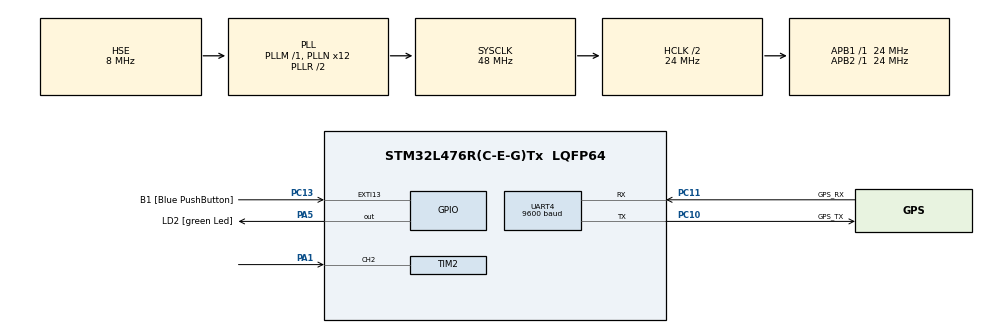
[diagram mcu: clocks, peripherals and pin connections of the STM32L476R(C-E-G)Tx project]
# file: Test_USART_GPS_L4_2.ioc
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Dma.MEMTOMEM.1.Direction=DMA_MEMORY_TO_MEMORY
Dma.MEMTOMEM.1.Instance=DMA1_Channel1
Dma.MEMTOMEM.1.MemDataAlignment=DMA_MDATAALIGN_BYTE
Dma.MEMTOMEM.1.MemInc=DMA_MINC_ENABLE
Dma.MEMTOMEM.1.Mode=DMA_NORMAL
Dma.MEMTOMEM.1.PeriphDataAlignment=DMA_PDATAALIGN_BYTE
Dma.MEMTOMEM.1.PeriphInc=DMA_PINC_ENABLE
Dma.MEMTOMEM.1.Priority=DMA_PRIORITY_LOW
Dma.Request0=UART4_RX
Dma.Request1=MEMTOMEM
Dma.Request2=UART4_TX
Dma.UART4_RX.0.Direction=DMA_PERIPH_TO_MEMORY
Dma.UART4_RX.0.Instance=DMA2_Channel5
Dma.UART4_RX.0.MemDataAlignment=DMA_MDATAALIGN_BYTE
Dma.UART4_RX.0.MemInc=DMA_MINC_ENABLE
Dma.UART4_RX.0.Mode=DMA_NORMAL
Dma.UART4_RX.0.PeriphDataAlignment=DMA_PDATAALIGN_BYTE
Dma.UART4_RX.0.PeriphInc=DMA_PINC_DISABLE
Dma.UART4_RX.0.Priority=DMA_PRIORITY_LOW
Dma.UART4_TX.2.Direction=DMA_MEMORY_TO_PERIPH
Dma.UART4_TX.2.Instance=DMA2_Channel3
Dma.UART4_TX.2.MemDataAlignment=DMA_MDATAALIGN_BYTE
Dma.UART4_TX.2.MemInc=DMA_MINC_ENABLE
Dma.UART4_TX.2.Mode=DMA_NORMAL
Dma.UART4_TX.2.PeriphDataAlignment=DMA_PDATAALIGN_BYTE
Dma.UART4_TX.2.PeriphInc=DMA_PINC_DISABLE
Dma.UART4_TX.2.Priority=DMA_PRIORITY_LOW
Mcu.Family=STM32L4
Mcu.Name=STM32L476R(C-E-G)Tx
Mcu.Package=LQFP64
Mcu.UserConstants=CCR1_VAL,8000
NVIC.DMA1_Channel1_IRQn=true\:0\:0\:false\:false\:true\:true\:true
NVIC.DMA2_Channel3_IRQn=true\:0\:0\:false\:false\:true\:false\:true
NVIC.DMA2_Channel5_IRQn=true\:0\:0\:false\:false\:true\:false\:true
NVIC.PriorityGroup=NVIC_PRIORITYGROUP_4
NVIC.TIM2_IRQn=true\:0\:0\:false\:false\:true\:true\:true
NVIC.UART4_IRQn=true\:0\:0\:false\:false\:true\:true\:false
PA1.Signal=S_TIM2_CH2
PA13\ (JTMS-SWDIO).GPIO_Label=TMS
PA13\ (JTMS-SWDIO).Signal=SYS_JTMS-SWDIO
PA14\ (JTCK-SWCLK).GPIO_Label=TCK
PA14\ (JTCK-SWCLK).Signal=SYS_JTCK-SWCLK
PA5.GPIO_Label=LD2 [green Led]
PA5.GPIO_ModeDefaultOutputPP=GPIO_MODE_OUTPUT_PP
PA5.GPIO_PuPd=GPIO_NOPULL
PA5.GPIO_Speed=GPIO_SPEED_FREQ_LOW
PA5.Signal=GPIO_Output
PB3\ (JTDO-TRACESWO).GPIO_Label=SWO
PB3\ (JTDO-TRACESWO).Signal=SYS_JTDO-SWO
PC10.GPIO_Label=GPS_TX
PC10.Mode=Asynchronous
PC10.Signal=UART4_TX
PC11.GPIO_Label=GPS_RX
PC11.Mode=Asynchronous
PC11.Signal=UART4_RX
PC13.GPIO_Label=B1 [Blue PushButton]
PC13.GPIO_ModeDefaultEXTI=GPIO_MODE_IT_FALLING
PC13.GPIO_PuPd=GPIO_NOPULL
PC13.Signal=GPXTI13
PC14-OSC32_IN\ (PC14).Signal=RCC_OSC32_IN
PC15-OSC32_OUT\ (PC15).Signal=RCC_OSC32_OUT
PH0-OSC_IN\ (PH0).Mode=HSE-External-Oscillator
PH0-OSC_IN\ (PH0).Signal=RCC_OSC_IN
PH1-OSC_OUT\ (PH1).Mode=HSE-External-Oscillator
PH1-OSC_OUT\ (PH1).Signal=RCC_OSC_OUT
ProjectManager.HeapSize=0x200
ProjectManager.StackSize=0x400
ProjectManager.TargetToolchain=TrueSTUDIO
RCC.ADCFreq_Value=32000000
RCC.AHBCLKDivider=RCC_SYSCLK_DIV2
RCC.AHBFreq_Value=24000000
RCC.APB1Freq_Value=24000000
RCC.APB1TimFreq_Value=24000000
RCC.APB2Freq_Value=24000000
RCC.APB2TimFreq_Value=24000000
RCC.CortexFreq_Value=24000000
RCC.HCLKFreq_Value=24000000
RCC.HSE_VALUE=8000000
RCC.HSI_VALUE=16000000
RCC.LSE_VALUE=32768
RCC.MSIClockRange=RCC_MSIRANGE_9
RCC.MSI_VALUE=24000000
RCC.PLLN=12
RCC.PLLSourceVirtual=RCC_PLLSOURCE_HSE
RCC.PREFETCH_ENABLE=1
RCC.SYSCLKFreq_VALUE=48000000
RCC.SYSCLKSource=RCC_SYSCLKSOURCE_PLLCLK
RCC.USBFreq_Value=32000000
RCC.VCOOutputFreq_Value=96000000
SH.S_TIM2_CH2.0=TIM2_CH2,TriggerSource_TI2FP2
SH.S_TIM2_CH2.1=TIM2_CH2,Input_Capture2_from_TI2
TIM2.Channel-Input_Capture2_from_TI2=TIM_CHANNEL_2
TIM2.Channel-Output\ Compare1\ No\ Output=TIM_CHANNEL_1
TIM2.OCPolarity_1=TIM_OCPOLARITY_LOW
TIM2.Period=65536
TIM2.Prescaler=1
TIM2.Pulse-Output\ Compare1\ No\ Output=CCR1_VAL
UART4.AutoBaudRateEnableParam=UART_ADVFEATURE_AUTOBAUDRATE_DISABLE
UART4.BaudRate=9600
VP_TIM2_VS_ClockSourceINT.Mode=Internal
VP_TIM2_VS_ControllerModeReset.Mode=Reset Mode
VP_TIM2_VS_no_output1.Mode=Output Compare1 No Output
board=NUCLEO-L476RG

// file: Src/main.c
/* USER CODE BEGIN Header */
/**
  ******************************************************************************
  * @file           : main.c
  * @brief          : Main program body
  ******************************************************************************
  * @attention
  *
  * <h2><center>&copy; Copyright (c) 2020 STMicroelectronics.
  * All rights reserved.</center></h2>
  *
  * This software component is licensed by ST under BSD 3-Clause license,
  * the "License"; You may not use this file except in compliance with the
  * License. You may obtain a copy of the License at:
  *                        opensource.org/licenses/BSD-3-Clause
  *
  ******************************************************************************
  */
/* USER CODE END Header */

#include "main.h"

/* USER CODE BEGIN Includes */
#include "HAL_GPS.h"
/* USER CODE END Includes */

TIM_HandleTypeDef htim2;

UART_HandleTypeDef huart4;
DMA_HandleTypeDef hdma_uart4_rx;
DMA_HandleTypeDef hdma_uart4_tx;
DMA_HandleTypeDef hdma_memtomem_dma1_channel1;

void SystemClock_Config(void);
static void MX_GPIO_Init(void);
static void MX_DMA_Init(void);
static void MX_UART4_Init(void);
static void MX_TIM2_Init(void);
/* USER CODE BEGIN PFP */

//USART CONFIG FUNCTIONS

/* USER CODE END PFP */

/* USER CODE BEGIN 0 */

void DMA_Test_Mem2MeM(void)
{
	  int i;
	  for (i = 0; i < 10; ++i)
	  {
		DMA_RX_Buffer[i] = i;
	  }
	  __HAL_DMA_ENABLE_IT(&hdma_memtomem_dma1_channel1,DMA_IT_TC);
	  HAL_DMA_Start(&hdma_memtomem_dma1_channel1,(uint32_t)DMA_RX_Buffer,(uint32_t)GNSS_Buffer,i);
	  while(M2M_Txfer_Cplt != SET);
}
/* USER CODE END 0 */

int main(void)
{

  /* MCU Configuration--------------------------------------------------------*/

  /* Reset of all peripherals, Initializes the Flash interface and the Systick. */
  HAL_Init();

  /* Configure the system clock */
  SystemClock_Config();

  /* Initialize all configured peripherals */
  //initialise Peripherals
  	  MX_GPIO_Init();
  	  MX_DMA_Init();
  	  MX_UART4_Init();
  	  MX_TIM2_Init();
  /* USER CODE BEGIN 2 */
  if(init_GPS(&huart4,&htim2,&hdma_memtomem_dma1_channel1)== GPS_Init_OK)
  {
	  __HAL_UART_ENABLE_IT(&huart4,UART_IT_IDLE);
	  __HAL_DMA_ENABLE_IT(huart4.hdmarx, DMA_IT_TC);
	  if(__HAL_TIM_GET_FLAG(&htim2,TIM_FLAG_CC1) == SET)
	  {
	   __HAL_TIM_CLEAR_FLAG(&htim2,TIM_FLAG_CC1);
	  }
	  M2M_Txfer_Cplt = 0;
	  __HAL_TIM_ENABLE_IT(&htim2,TIM_IT_CC1);
	  HAL_TIM_OC_Start_IT(&htim2, TIM_CHANNEL_1);
	  HAL_TIM_Base_Start_IT(&htim2);
	  HAL_UART_Receive_DMA(&huart4,DMA_RX_Buffer,DMA_RX_BUFFER_SIZE);
	  log_gps = SET;
  }
  /* USER CODE END 2 */

  /* Infinite loop */
  while (1)
  {
	//sample GPS
	  if(packet_full == 7)
	  {
		  log_gps = RESET;
		  HAL_UART_DMAStop(&huart4);
		  HAL_TIM_Base_Stop(&htim2);
		  HAL_GPIO_WritePin(LD2_GPIO_Port,LD2_Pin,SET);
	  }

  }
}

void SystemClock_Config(void)
{
  RCC_OscInitTypeDef RCC_OscInitStruct = {0};
  RCC_ClkInitTypeDef RCC_ClkInitStruct = {0};
  RCC_PeriphCLKInitTypeDef PeriphClkInit = {0};

  /** Initializes the CPU, AHB and APB busses clocks
  */
  RCC_OscInitStruct.OscillatorType = RCC_OSCILLATORTYPE_HSE;
  RCC_OscInitStruct.HSEState = RCC_HSE_ON;
  RCC_OscInitStruct.PLL.PLLState = RCC_PLL_ON;
  RCC_OscInitStruct.PLL.PLLSource = RCC_PLLSOURCE_HSE;
  RCC_OscInitStruct.PLL.PLLM = 1;
  RCC_OscInitStruct.PLL.PLLN = 12;
  RCC_OscInitStruct.PLL.PLLP = RCC_PLLP_DIV7;
  RCC_OscInitStruct.PLL.PLLQ = RCC_PLLQ_DIV2;
  RCC_OscInitStruct.PLL.PLLR = RCC_PLLR_DIV2;
  if (HAL_RCC_OscConfig(&RCC_OscInitStruct) != HAL_OK)
  {
    Error_Handler();
  }
  /** Initializes the CPU, AHB and APB busses clocks
  */
  RCC_ClkInitStruct.ClockType = RCC_CLOCKTYPE_HCLK|RCC_CLOCKTYPE_SYSCLK
                              |RCC_CLOCKTYPE_PCLK1|RCC_CLOCKTYPE_PCLK2;
  RCC_ClkInitStruct.SYSCLKSource = RCC_SYSCLKSOURCE_PLLCLK;
  RCC_ClkInitStruct.AHBCLKDivider = RCC_SYSCLK_DIV2;
  RCC_ClkInitStruct.APB1CLKDivider = RCC_HCLK_DIV1;
  RCC_ClkInitStruct.APB2CLKDivider = RCC_HCLK_DIV1;

  if (HAL_RCC_ClockConfig(&RCC_ClkInitStruct, FLASH_LATENCY_1) != HAL_OK)
  {
    Error_Handler();
  }
  PeriphClkInit.PeriphClockSelection = RCC_PERIPHCLK_UART4;
  PeriphClkInit.Uart4ClockSelection = RCC_UART4CLKSOURCE_PCLK1;
  if (HAL_RCCEx_PeriphCLKConfig(&PeriphClkInit) != HAL_OK)
  {
    Error_Handler();
  }
  /** Configure the main internal regulator output voltage
  */
  if (HAL_PWREx_ControlVoltageScaling(PWR_REGULATOR_VOLTAGE_SCALE1) != HAL_OK)
  {
    Error_Handler();
  }
}

static void MX_TIM2_Init(void)
{

  TIM_ClockConfigTypeDef sClockSourceConfig = {0};
  TIM_SlaveConfigTypeDef sSlaveConfig = {0};
  TIM_MasterConfigTypeDef sMasterConfig = {0};
  TIM_OC_InitTypeDef sConfigOC = {0};
  TIM_IC_InitTypeDef sConfigIC = {0};

  htim2.Instance = TIM2;
  htim2.Init.Prescaler = 1;
  htim2.Init.CounterMode = TIM_COUNTERMODE_UP;
  htim2.Init.Period = 65536;
  htim2.Init.ClockDivision = TIM_CLOCKDIVISION_DIV1;
  htim2.Init.AutoReloadPreload = TIM_AUTORELOAD_PRELOAD_DISABLE;
  if (HAL_TIM_Base_Init(&htim2) != HAL_OK)
  {
    Error_Handler();
  }
  sClockSourceConfig.ClockSource = TIM_CLOCKSOURCE_INTERNAL;
  if (HAL_TIM_ConfigClockSource(&htim2, &sClockSourceConfig) != HAL_OK)
  {
    Error_Handler();
  }
  if (HAL_TIM_OC_Init(&htim2) != HAL_OK)
  {
    Error_Handler();
  }
  if (HAL_TIM_IC_Init(&htim2) != HAL_OK)
  {
    Error_Handler();
  }
  sSlaveConfig.SlaveMode = TIM_SLAVEMODE_RESET;
  sSlaveConfig.InputTrigger = TIM_TS_TI2FP2;
  sSlaveConfig.TriggerPolarity = TIM_INPUTCHANNELPOLARITY_RISING;
  sSlaveConfig.TriggerFilter = 0;
  if (HAL_TIM_SlaveConfigSynchronization(&htim2, &sSlaveConfig) != HAL_OK)
  {
    Error_Handler();
  }
  sMasterConfig.MasterOutputTrigger = TIM_TRGO_RESET;
  sMasterConfig.MasterSlaveMode = TIM_MASTERSLAVEMODE_DISABLE;
  if (HAL_TIMEx_MasterConfigSynchronization(&htim2, &sMasterConfig) != HAL_OK)
  {
    Error_Handler();
  }
  sConfigOC.OCMode = TIM_OCMODE_TIMING;
  sConfigOC.Pulse = CCR1_VAL;
  sConfigOC.OCPolarity = TIM_OCPOLARITY_LOW;
  sConfigOC.OCFastMode = TIM_OCFAST_DISABLE;
  if (HAL_TIM_OC_ConfigChannel(&htim2, &sConfigOC, TIM_CHANNEL_1) != HAL_OK)
  {
    Error_Handler();
  }
  sConfigIC.ICPolarity = TIM_INPUTCHANNELPOLARITY_RISING;
  sConfigIC.ICSelection = TIM_ICSELECTION_DIRECTTI;
  sConfigIC.ICPrescaler = TIM_ICPSC_DIV1;
  sConfigIC.ICFilter = 0;
  if (HAL_TIM_IC_ConfigChannel(&htim2, &sConfigIC, TIM_CHANNEL_2) != HAL_OK)
  {
    Error_Handler();
  }
  /* USER CODE BEGIN TIM2_Init 2 */
  __HAL_TIM_CLEAR_IT(&htim2,TIM_IT_UPDATE);
  /* USER CODE END TIM2_Init 2 */

}

static void MX_UART4_Init(void)
{

  /* USER CODE BEGIN UART4_Init 1 */
	/*
	 * Configure USART for auto baud rate detection as per Application Note 4908
	 */

  /* USER CODE END UART4_Init 1 */
  huart4.Instance = UART4;
  huart4.Init.BaudRate = 9600;
  huart4.Init.WordLength = UART_WORDLENGTH_8B;
  huart4.Init.StopBits = UART_STOPBITS_1;
  huart4.Init.Parity = UART_PARITY_NONE;
  huart4.Init.Mode = UART_MODE_TX_RX;
  huart4.Init.HwFlowCtl = UART_HWCONTROL_NONE;
  huart4.Init.OverSampling = UART_OVERSAMPLING_16;
  huart4.Init.OneBitSampling = UART_ONE_BIT_SAMPLE_DISABLE;
  huart4.AdvancedInit.AdvFeatureInit = UART_ADVFEATURE_NO_INIT;
  if (HAL_UART_Init(&huart4) != HAL_OK)
  {
    Error_Handler();
  }

  /* USER CODE END UART4_Init 2 */

}

static void MX_DMA_Init(void)
{

  /* DMA controller clock enable */
  __HAL_RCC_DMA2_CLK_ENABLE();
  __HAL_RCC_DMA1_CLK_ENABLE();

  /* Configure DMA request hdma_memtomem_dma1_channel1 on DMA1_Channel1 */
  hdma_memtomem_dma1_channel1.Instance = DMA1_Channel1;
  hdma_memtomem_dma1_channel1.Init.Request = DMA_REQUEST_0;
  hdma_memtomem_dma1_channel1.Init.Direction = DMA_MEMORY_TO_MEMORY;
  hdma_memtomem_dma1_channel1.Init.PeriphInc = DMA_PINC_ENABLE;
  hdma_memtomem_dma1_channel1.Init.MemInc = DMA_MINC_ENABLE;
  hdma_memtomem_dma1_channel1.Init.PeriphDataAlignment = DMA_PDATAALIGN_BYTE;
  hdma_memtomem_dma1_channel1.Init.MemDataAlignment = DMA_MDATAALIGN_BYTE;
  hdma_memtomem_dma1_channel1.Init.Mode = DMA_NORMAL;
  hdma_memtomem_dma1_channel1.Init.Priority = DMA_PRIORITY_LOW;
  if (HAL_DMA_Init(&hdma_memtomem_dma1_channel1) != HAL_OK)
  {
    Error_Handler( );
  }

  /* DMA interrupt init */
  CLEAR_REG(hdma_uart4_rx.DmaBaseAddress->ISR);
  CLEAR_REG(hdma_uart4_tx.DmaBaseAddress->ISR);
  CLEAR_REG(hdma_memtomem_dma1_channel1.DmaBaseAddress->ISR);

  /* DMA1_Channel1_IRQn interrupt configuration */
  HAL_NVIC_SetPriority(DMA1_Channel1_IRQn, 0, 0);
  HAL_NVIC_EnableIRQ(DMA1_Channel1_IRQn);
  /* DMA2_Channel3_IRQn interrupt configuration */
  HAL_NVIC_SetPriority(DMA2_Channel3_IRQn, 0, 0);
  HAL_NVIC_EnableIRQ(DMA2_Channel3_IRQn);
  /* DMA2_Channel5_IRQn interrupt configuration */
  HAL_NVIC_SetPriority(DMA2_Channel5_IRQn, 0, 0);
  HAL_NVIC_EnableIRQ(DMA2_Channel5_IRQn);

}

static void MX_GPIO_Init(void)
{
  GPIO_InitTypeDef GPIO_InitStruct = {0};

  /* GPIO Ports Clock Enable */
  __HAL_RCC_GPIOC_CLK_ENABLE();
  __HAL_RCC_GPIOH_CLK_ENABLE();
  __HAL_RCC_GPIOA_CLK_ENABLE();
  __HAL_RCC_GPIOB_CLK_ENABLE();

  /*Configure GPIO pin Output Level */
  HAL_GPIO_WritePin(LD2_GPIO_Port, LD2_Pin, GPIO_PIN_RESET);

  /*Configure GPIO pin : B1_Pin */
  GPIO_InitStruct.Pin = B1_Pin;
  GPIO_InitStruct.Mode = GPIO_MODE_IT_FALLING;
  GPIO_InitStruct.Pull = GPIO_NOPULL;
  HAL_GPIO_Init(B1_GPIO_Port, &GPIO_InitStruct);

  /*Configure GPIO pin : LD2_Pin */
  GPIO_InitStruct.Pin = LD2_Pin;
  GPIO_InitStruct.Mode = GPIO_MODE_OUTPUT_PP;
  GPIO_InitStruct.Pull = GPIO_NOPULL;
  GPIO_InitStruct.Speed = GPIO_SPEED_FREQ_LOW;
  HAL_GPIO_Init(LD2_GPIO_Port, &GPIO_InitStruct);

}

void Error_Handler(void)
{
}

/************************ (C) COPYRIGHT STMicroelectronics *****END OF FILE****/
